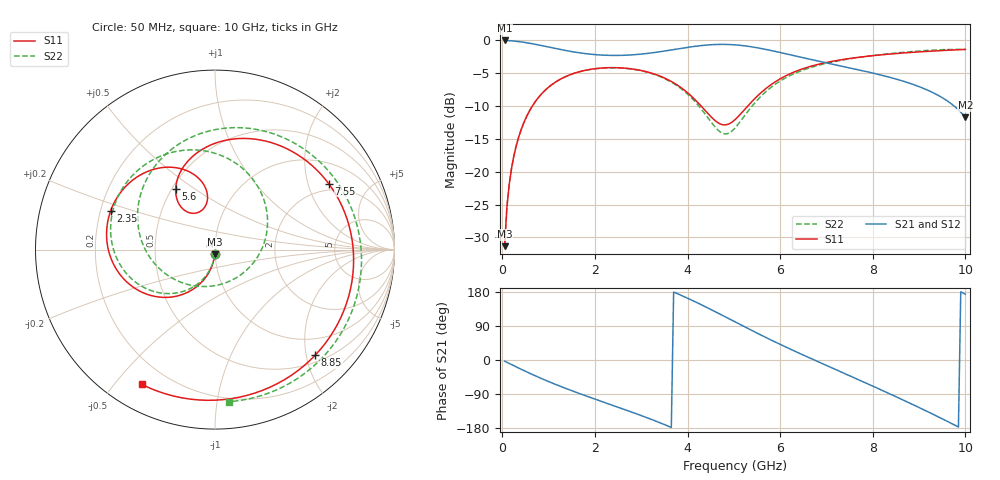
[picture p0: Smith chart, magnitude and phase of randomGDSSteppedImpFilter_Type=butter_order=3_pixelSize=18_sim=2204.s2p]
! freq	dB(S11)	phase(S11)	dB(S12)	phase(S12)
!  dB(S21)	phase(S21)	dB(S22)	phase(S22)
!S-par simulation data
#  GHz  S  DB  R 50
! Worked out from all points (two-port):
!   200 points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, 50 MHz to 10 GHz, reference 50 ohm
!   highest |S21| = -0.01 dB at 50 MHz (marker M1); lowest = -11.7 dB at 10 GHz (marker M2)
!   |S21| within 3 dB of the highest: start of sweep to 6.73 GHz
!   lowest |S11| = -31.3 dB at 50 MHz (marker M3), VSWR 1.06, Z = 49.8 - j2.7 ohm
!   |S11| at or under -10 dB: start of sweep to 648.8 MHz; 4.294 GHz to 5.3 GHz (1.005 GHz wide, 21 % of centre)
!   |S22| runs from -31.3 to -1.4 dB; largest |S21 - S12| = 0
!   S11 on the Smith chart (normalised r, x): 50 MHz: 1.00, -0.05; 2.35 GHz: 0.24, +0.17; 5.6 GHz: 0.52, +0.42; 7.55 GHz: 1.72, +2.73; 8.85 GHz: 0.63, -2.17; 10 GHz: 0.11, -0.59
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0.05  -31.34 -93.1  -0.01 -3.1  -0.01 -3.1  -31.34 -93.4
0.1  -25.36 -96.2  -0.02 -6.1  -0.02 -6.1  -25.37 -96.7
0.2  -19.47 -102.0  -0.07 -12.2  -0.07 -12.2  -19.47 -103.2
0.5  -11.97 -118.9  -0.33 -29.8  -0.33 -29.8  -11.97 -121.7
1.05  -6.84 -147.0  -1.09 -59.4  -1.09 -59.4  -6.85 -153.0
1.75  -4.62 -177.3  -1.97 -92.2  -1.97 -92.2  -4.63 171.8
2.35  -4.15 159.6  -2.29 -118.1  -2.29 -118.1  -4.17 143.4
2.9  -4.45 139.3  -2.15 -142.0  -2.15 -142.0  -4.49 116.2
3.4  -5.42 121.1  -1.73 -165.4  -1.73 -165.4  -5.49 88.3
3.85  -7.15 106.2  -1.23 171.4  -1.23 171.4  -7.29 57.9
4.25  -9.66 98.1  -0.82 148.7  -0.82 148.7  -10.05 22.1
4.75  -12.83 110.8  -0.60 118.0  -0.60 118.0  -14.13 -53.1
5.05  -11.91 125.4  -0.69 99.1  -0.69 99.1  -13.15 -110.7
5.6  -7.88 122.9  -1.25 65.0  -1.25 65.0  -8.41 -177.5
6.1  -5.47 103.8  -2.00 35.5  -2.00 35.5  -5.77 143.8
6.7  -3.87 75.2  -2.96 2.0  -2.96 2.0  -4.04 106.4
7.1  -3.22 54.5  -3.58 -19.8  -3.58 -19.8  -3.33 84.0
7.55  -2.71 30.1  -4.26 -44.2  -4.26 -44.2  -2.75 60.1
8.35  -2.09 -16.2  -5.59 -88.4  -5.59 -88.4  -2.03 18.7
8.85  -1.82 -46.5  -6.65 -116.7  -6.65 -116.7  -1.70 -7.9
9.45  -1.56 -83.7  -8.52 -152.1  -8.52 -152.1  -1.43 -43.4
10  -1.37 -118.4  -11.74 173.6  -11.74 173.6  -1.40 -84.9
